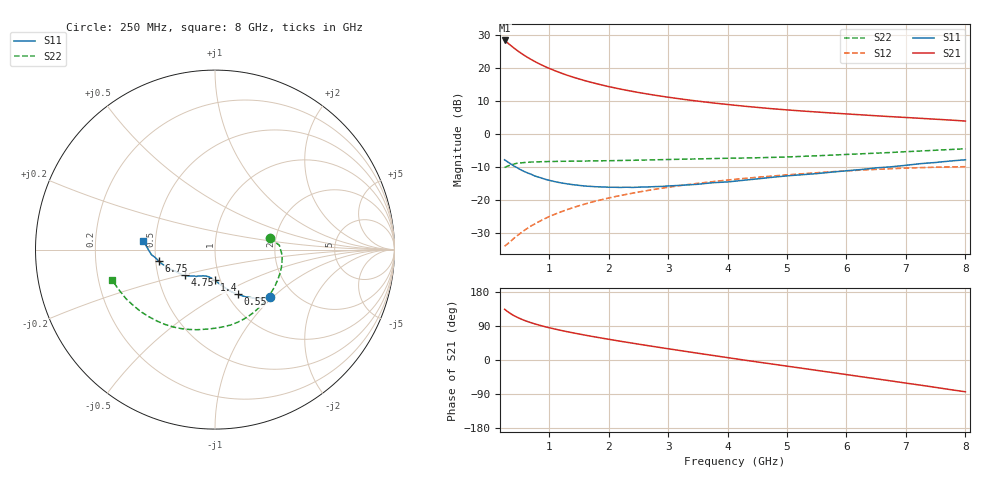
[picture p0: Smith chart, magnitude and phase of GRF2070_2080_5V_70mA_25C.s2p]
! Data measured by Modelithics, Inc.
! support@modelithics.com 813-866-6335 Tampa FL USA
# GHZ S MA R 50
! Scattering Parameters
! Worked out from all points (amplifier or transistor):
!   56 points, 250 MHz to 8 GHz, reference 50 ohm
!   highest |S21| = 28.3 dB at 250 MHz (marker M1)
!   |S21| within 3 dB of that: start of sweep to 459.2 MHz
!   unconditionally stable (mu >= 1): start of sweep to end of sweep
!   at 700 MHz: K = 1.07, MAG = 23.5 dB, |S12| = -27.8 dB
!   at 2.3 GHz: K = 1.05, MAG = 14.4 dB, |S12| = -18.3 dB
!   at 8 GHz: K = 1.02, MAG = 6.1 dB, |S12| = -9.9 dB
!   lowest NFmin = 0.16 dB at 250 MHz
!   S11 on the Smith chart (normalised r, x): 250 MHz: 1.51, -0.97; 550 MHz: 1.12, -0.60; 1.4 GHz: 0.94, -0.33; 4.75 GHz: 0.69, -0.21; 6.75 GHz: 0.52, -0.08; 8 GHz: 0.42, +0.05
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0.25  0.4061 -40.9  26.03 133.9  0.02 36.5  0.3108 11.8
0.3  0.3785 -45.9  23.9 127.8  0.02167 41.4  0.3257 9.5
0.35  0.3531 -50.5  21.98 122.4  0.02365 45.1  0.3382 7.4
0.4  0.3295 -53.9  20.23 117.6  0.02599 48.8  0.3475 5.6
0.45  0.3125 -57.2  18.68 113.7  0.02835 50.4  0.3592 3.9
0.5  0.2934 -60.5  17.35 110.0  0.0306 51.8  0.3638 1.3
0.55  0.278 -63.2  16.14 106.6  0.03315 53.5  0.3663 -0.7
0.6  0.2654 -65.6  15.12 103.5  0.03556 54.4  0.3705 -2.5
0.7  0.2446 -70.2  13.35 98.2  0.04068 55.6  0.3759 -6.0
0.8  0.2246 -74.1  11.93 93.4  0.04569 56.0  0.378 -8.9
0.9  0.2104 -77.6  10.79 89.1  0.05092 56.2  0.3814 -11.6
1.1  0.1892 -83.6  9.035 81.5  0.06113 55.2  0.3835 -17.0
1.4  0.1705 -90.8  7.248 71.7  0.07651 52.4  0.3871 -24.2
1.6  0.1626 -95.0  6.413 65.7  0.08681 49.9  0.3887 -28.6
2.2  0.1549 -105.2  4.774 49.5  0.117 41.2  0.3963 -41.2
2.9  0.1605 -114.5  3.714 32.1  0.1512 29.7  0.408 -55.5
3.5  0.173 -121.9  3.139 17.9  0.1788 19.2  0.419 -67.5
4.25  0.1981 -132.0  2.648 0.5  0.2109 5.5  0.4321 -83.1
4.75  0.2207 -139.5  2.409 -10.7  0.2305 -3.6  0.4417 -93.1
5.5  0.2509 -151.2  2.15 -27.3  0.2588 -17.4  0.4672 -107.7
6.75  0.318 -168.1  1.827 -55.2  0.2977 -41.9  0.5244 -134.3
8  0.4064 173.0  1.567 -83.9  0.3194 -67.9  0.597 -163.3
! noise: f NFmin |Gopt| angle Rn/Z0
0.25  0.1576  0.1737  44.69  0.09767
0.55  0.1741  0.1724  64.27  0.03052
0.85  0.1928  0.1711  83.05  0.03684
1.3  0.2245  0.1692  109.7  0.03342
1.9  0.2743  0.1667  142.4  0.03192
2.5  0.3323  0.1641  172  0.0307
3.25  0.4166  0.161  -155.6  0.0464
4.75  0.6243  0.1546  -105.9  0.08793
6.25  0.8841  0.1482  -76.16  0.1227
8  1.253  0.1408  -66.85  0.1617
